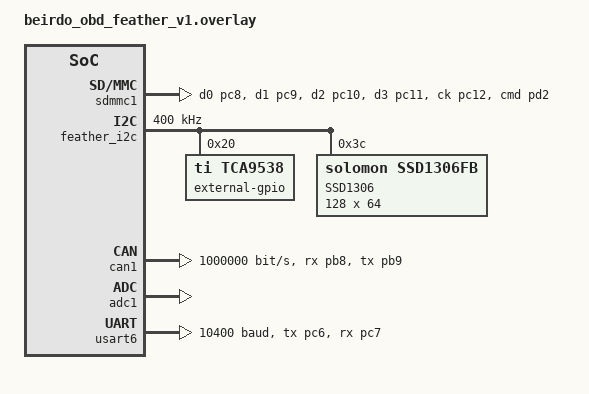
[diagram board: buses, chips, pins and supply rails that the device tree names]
// /delete-node/ &storage_partition;

/ {
  	chosen {
		zephyr,can-primary = &can1;
	};

/*
	fstab {
		compatible = "zephyr,fstab";
		lfs1: lfs1 {
			compatible = "zephyr,fstab,littlefs";
			mount-point = "/lfs1";
			partition = <&lfs1_part>;
			automount;
			read-size = <16>;
			prog-size = <16>;
			cache-size = <64>;
			lookahead-size = <32>;
			block-cycles = <512>;
		};
	};
*/

	soc {
		sdmmc1: sdio@40012c00 {
			compatible = "st,stm32-sdmmc";
			reg = < 0x40012C00 0x400 >;
			clocks = < &rcc 0x3 0x800 >;
			interrupts = < 0x31 0x4 >;
			label = "SDMMC_1";
			status = "okay";
			cd-gpios = <&gpiob 12 GPIO_ACTIVE_HIGH>;
			pinctrl-0 = <&sdio_d0_pc8 &sdio_d1_pc9 &sdio_d2_pc10 &sdio_d3_pc11
						&sdio_ck_pc12 &sdio_cmd_pd2>;
		};
	};
};


&feather_i2c {
  clock-frequency = <I2C_BITRATE_FAST>;

	external_gpio: gpio@20 {
		reg = <0x20>;
		compatible = "ti,tca9538";
		label = "external-gpio";
		gpio-controller;
		#gpio-cells = <2>;
		ngpios = <8>;
		status = "okay";
	};

	display: ssd1306@3C {
		reg = <0x3C>;
		compatible = "solomon,ssd1306fb";
		label = "SSD1306";
		height = <64>;
		width = <128>;
		display-offset = <0>;
		segment-offset = <0>;
		page-offset = <0>;
		multiplex-ratio = <63>;
		prechargep = <0x22>;
		segment-remap;
		com-invdir;
    	com-sequential;
	};
};

&can1 {
	pinctrl-0 = <&can1_rx_pb8 &can1_tx_pb9>;
	bus-speed = <1000000>;
	status = "okay";
};

&adc1 {
	status = "okay";
};

/* KLine */
&usart6 {
  pinctrl-0 = <&usart6_tx_pc6 &usart6_rx_pc7>;
  current-speed = <10400>;
  status = "okay";
};

